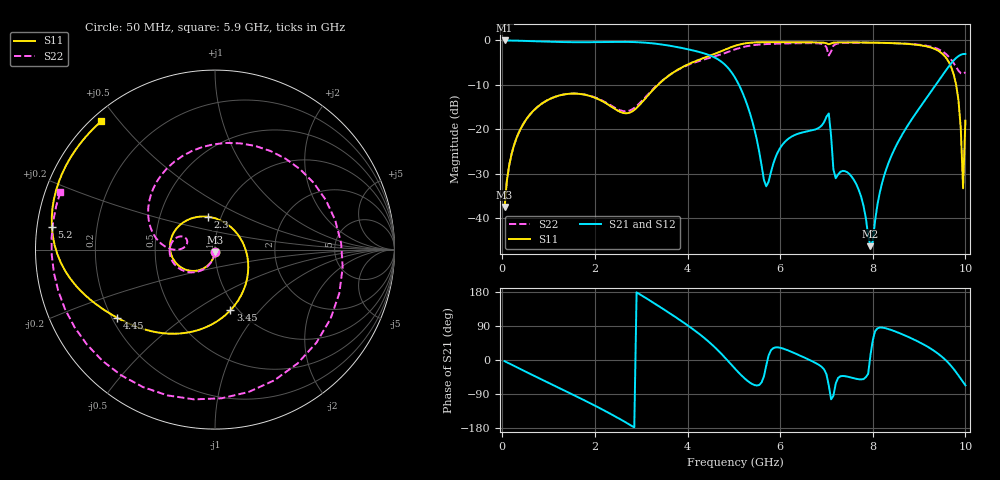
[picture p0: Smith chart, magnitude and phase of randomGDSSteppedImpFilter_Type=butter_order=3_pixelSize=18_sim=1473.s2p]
! freq	dB(S11)	phase(S11)	dB(S12)	phase(S12)
!  dB(S21)	phase(S21)	dB(S22)	phase(S22)
!S-par simulation data
#  GHz  S  DB  R 50
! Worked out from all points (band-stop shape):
!   200 points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, 50 MHz to 10 GHz, reference 50 ohm
!   highest |S21| = -0.01 dB at 50 MHz (marker M1); lowest = -46.3 dB at 7.95 GHz (marker M2)
!   |S21| within 3 dB of the highest: start of sweep to 4.385 GHz
!   lowest |S11| = -37.4 dB at 50 MHz (marker M3), VSWR 1.03, Z = 49.9 - j1.34 ohm
!   |S11| at or under -10 dB: start of sweep to 3.361 GHz; 9.801 GHz to end of sweep
!   |S22| runs from -37.4 to -0.5 dB; largest |S21 - S12| = 0
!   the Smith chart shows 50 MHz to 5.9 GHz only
!   S11 on the Smith chart (normalised r, x): 50 MHz: 1.00, -0.03; 2.3 GHz: 0.86, +0.33; 3.45 GHz: 0.92, -0.71; 4.45 GHz: 0.22, -0.30; 5.2 GHz: 0.04, +0.07; 5.9 GHz: 0.03, +0.45
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0.05  -37.43 -92.4  -0.01 -3.1  -0.01 -3.1  -37.43 -92.2
0.5  -18.02 -122.1  -0.11 -30.5  -0.11 -30.5  -18.02 -119.9
1.75  -12.14 155.2  -0.40 -105.0  -0.40 -105.0  -12.10 174.0
2.3  -14.52 102.7  -0.34 -139.7  -0.34 -139.7  -14.34 157.8
3.4  -9.61 -70.9  -0.85 140.5  -0.85 140.5  -9.51 169.0
3.45  -9.14 -75.8  -0.92 136.5  -0.92 136.5  -9.06 166.1
4.45  -3.56 -145.0  -3.24 49.1  -3.24 49.1  -4.01 60.7
4.8  -2.10 -163.2  -5.38 7.3  -5.38 7.3  -2.87 -8.0
5.05  -1.12 -178.3  -8.81 -26.3  -8.81 -26.3  -1.94 -65.5
5.2  -0.74 172.0  -12.07 -44.9  -12.07 -44.9  -1.49 -98.0
5.7  -0.40 142.2  -32.80 -14.6  -32.80 -14.6  -0.82 -178.1
5.9  -0.40 131.7  -26.28 33.3  -26.28 33.3  -0.73 159.5
6.7  -0.44 92.3  -20.20 -3.8  -20.20 -3.8  -0.61 93.0
7.05  -0.86 75.5  -16.43 -67.3  -16.43 -67.3  -3.39 66.3
7.2  -0.47 69.7  -30.98 -62.2  -30.98 -62.2  -0.82 70.1
7.65  -0.46 46.7  -32.45 -49.8  -32.45 -49.8  -0.52 39.8
7.95  -0.49 31.5  -46.26 12.8  -46.26 12.8  -0.53 23.2
8.35  -0.58 10.6  -27.28 81.2  -27.28 81.2  -0.58 2.2
9.65  -5.01 -87.1  -5.73 -9.9  -5.73 -9.9  -3.77 -67.1
9.85  -13.39 -121.0  -3.53 -40.6  -3.53 -40.6  -6.80 -65.6
9.95  -33.25 108.6  -3.06 -58.2  -3.06 -58.2  -7.51 -53.5
10  -18.04 42.4  -3.04 -66.8  -3.04 -66.8  -7.15 -47.3
